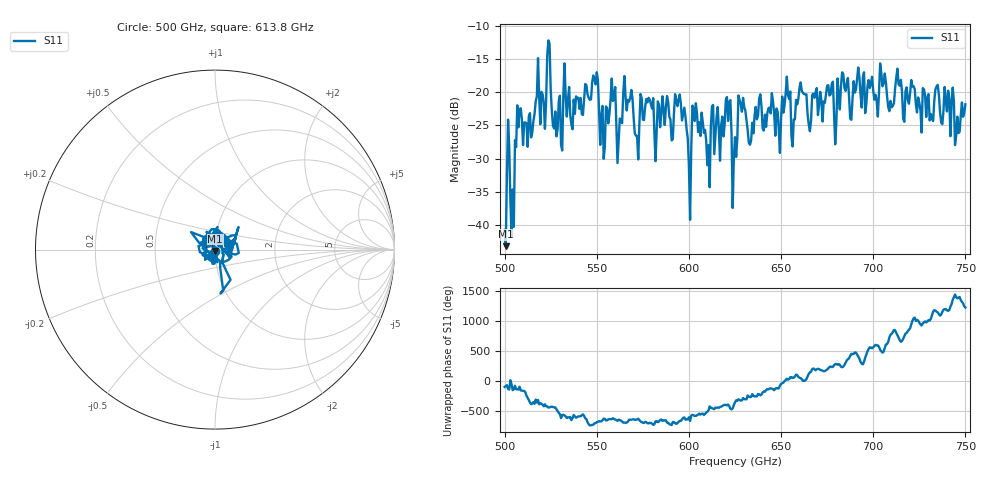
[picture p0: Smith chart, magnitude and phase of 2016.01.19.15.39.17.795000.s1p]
!Created with skrf (http://scikit-rf.org).
# GHz S RI R 50.0
!freq ReS11 ImS11
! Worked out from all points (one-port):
!   401 points, 500 GHz to 750 GHz, reference 50 ohm
!   lowest |S11| = -43.2 dB at 500.6 GHz (marker M1), VSWR 1.01, Z = 50 - j0.691 ohm
!   |S11| at or under -10 dB: start of sweep to end of sweep
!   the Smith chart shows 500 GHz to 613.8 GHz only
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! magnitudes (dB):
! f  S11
! 500 GHz  -40.7
! 500.6 GHz  -43.2
! 504.4 GHz  -34.6
! 508.1 GHz  -22.5
! 520.6 GHz  -20.3
! 523.8 GHz  -12.2
! 526.9 GHz  -25.5
! 531.2 GHz  -28.8
! 549.4 GHz  -18.8
! 553.1 GHz  -22.1
! 558.8 GHz  -21.3
! 562.5 GHz  -23.9
! 565.6 GHz  -20.7
! 571.9 GHz  -26.6
! 593.8 GHz  -22.1
! 600 GHz  -31.2
! 603.1 GHz  -24.3
! 610 GHz  -31.0
! 621.2 GHz  -24.3
! 625 GHz  -26.8
! 628.1 GHz  -21.8
! 633.8 GHz  -27.3
! 653.8 GHz  -20.4
! 656.2 GHz  -28.2
! 661.2 GHz  -19.8
! 687.5 GHz  -24.0
! 718.8 GHz  -21.2
! 750 GHz  -21.8
